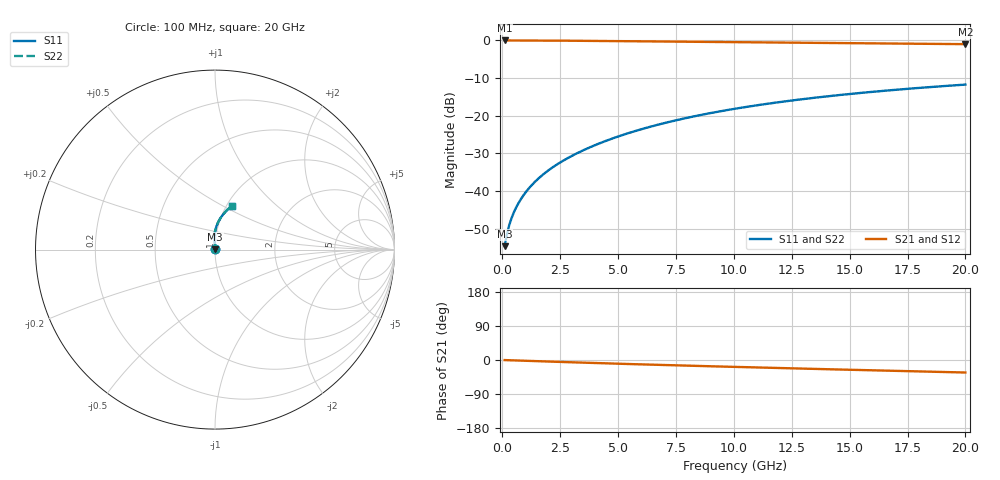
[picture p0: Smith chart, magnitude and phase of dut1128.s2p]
! Touchstone file exported from HFSS 2024.1.0
!  File:  C:/UserFiles/LocalFiles/RDL_TSV_Batchsim/temp_RDL_top_1128_1780047342.aedt
!  Generated:  05:37:43 PM May 29, 2026
!  Design:  RDL_top
!  Project:  temp_RDL_top_1128_1780047342
!  Setup:  Setup1
!  Solution:  Sweep
! Variables:
!  dtsv = 10.80580581um
!  hbump = 3um
!  htsv = 89.44um
!  ldown = 100um
!  lrdl = 487.58um
!  p = 40
!  p1 = 52.94um
!  rhole = 1um
!  t = 450um
!  tdown = 3.915915916um
!  trdl = 4.66um
!  wdown = 15.38538539um
!  wrdl = 29.16um
# GHz S MA R 50.000000
! Terminal data exported
! Port[1] = Box2_T1
! Port[2] = Box2_T2
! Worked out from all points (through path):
!   200 points, 100 MHz to 20 GHz, reference 50 ohm
!   highest |S21| = -0.01 dB at 100 MHz (marker M1); lowest = -1.0 dB at 20 GHz (marker M2)
!   group delay of S21, straight-line fit = 4.51 ps
!   lowest |S11| = -54.6 dB at 100 MHz (marker M3), VSWR 1.00, Z = 50.1 + j0.111 ohm
!   |S11| at or under -10 dB: start of sweep to end of sweep
!   |S22| runs from -54.6 to -11.7 dB; largest |S21 - S12| = 3.2e-15
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0.1  0.001855 36.5  0.9985 -0.2  0.9985 -0.2  0.001855 36.5
! Gamma 0 0 0 0
! Port Impedance 50 0 50 0
0.2  0.00267 53.0  0.9983 -0.4  0.9983 -0.4  0.002669 53.0
0.3  0.003531 60.9  0.9982 -0.6  0.9982 -0.6  0.003531 60.9
0.4  0.00438 65.8  0.998 -0.8  0.998 -0.8  0.00438 65.8
0.5  0.005222 69.5  0.9978 -1.0  0.9978 -1.0  0.005222 69.5
0.6  0.006068 72.3  0.9977 -1.3  0.9977 -1.3  0.006068 72.3
0.8  0.007785 76.6  0.9974 -1.7  0.9974 -1.7  0.007785 76.6
1.1  0.01044 81.0  0.9968 -2.3  0.9968 -2.3  0.01044 81.0
1.3  0.01226 83.0  0.9963 -2.7  0.9963 -2.7  0.01226 83.0
1.6  0.01505 85.4  0.9955 -3.3  0.9955 -3.3  0.01505 85.4
2.1  0.0199 88.2  0.9938 -4.3  0.9938 -4.3  0.0199 88.2
2.7  0.02605 90.5  0.9913 -5.5  0.9913 -5.5  0.02605 90.5
3.5  0.03482 92.3  0.9873 -7.0  0.9873 -7.0  0.03481 92.2
4.2  0.04303 93.0  0.9834 -8.3  0.9834 -8.3  0.04302 93.0
5  0.05298 93.3  0.9786 -9.8  0.9786 -9.8  0.05296 93.3
6.8  0.07712 92.2  0.9672 -12.9  0.9672 -12.9  0.07708 92.2
8.4  0.09987 90.0  0.9571 -15.6  0.9571 -15.6  0.09982 90.0
10.1  0.1246 87.1  0.9468 -18.3  0.9468 -18.3  0.1245 87.1
11.7  0.1478 84.1  0.9374 -20.8  0.9374 -20.8  0.1477 84.1
13.4  0.1721 80.9  0.9278 -23.4  0.9278 -23.4  0.172 80.9
16.7  0.2172 74.8  0.9097 -28.3  0.9097 -28.3  0.2171 74.8
20  0.259 69.0  0.892 -33.0  0.892 -33.0  0.2589 68.9
